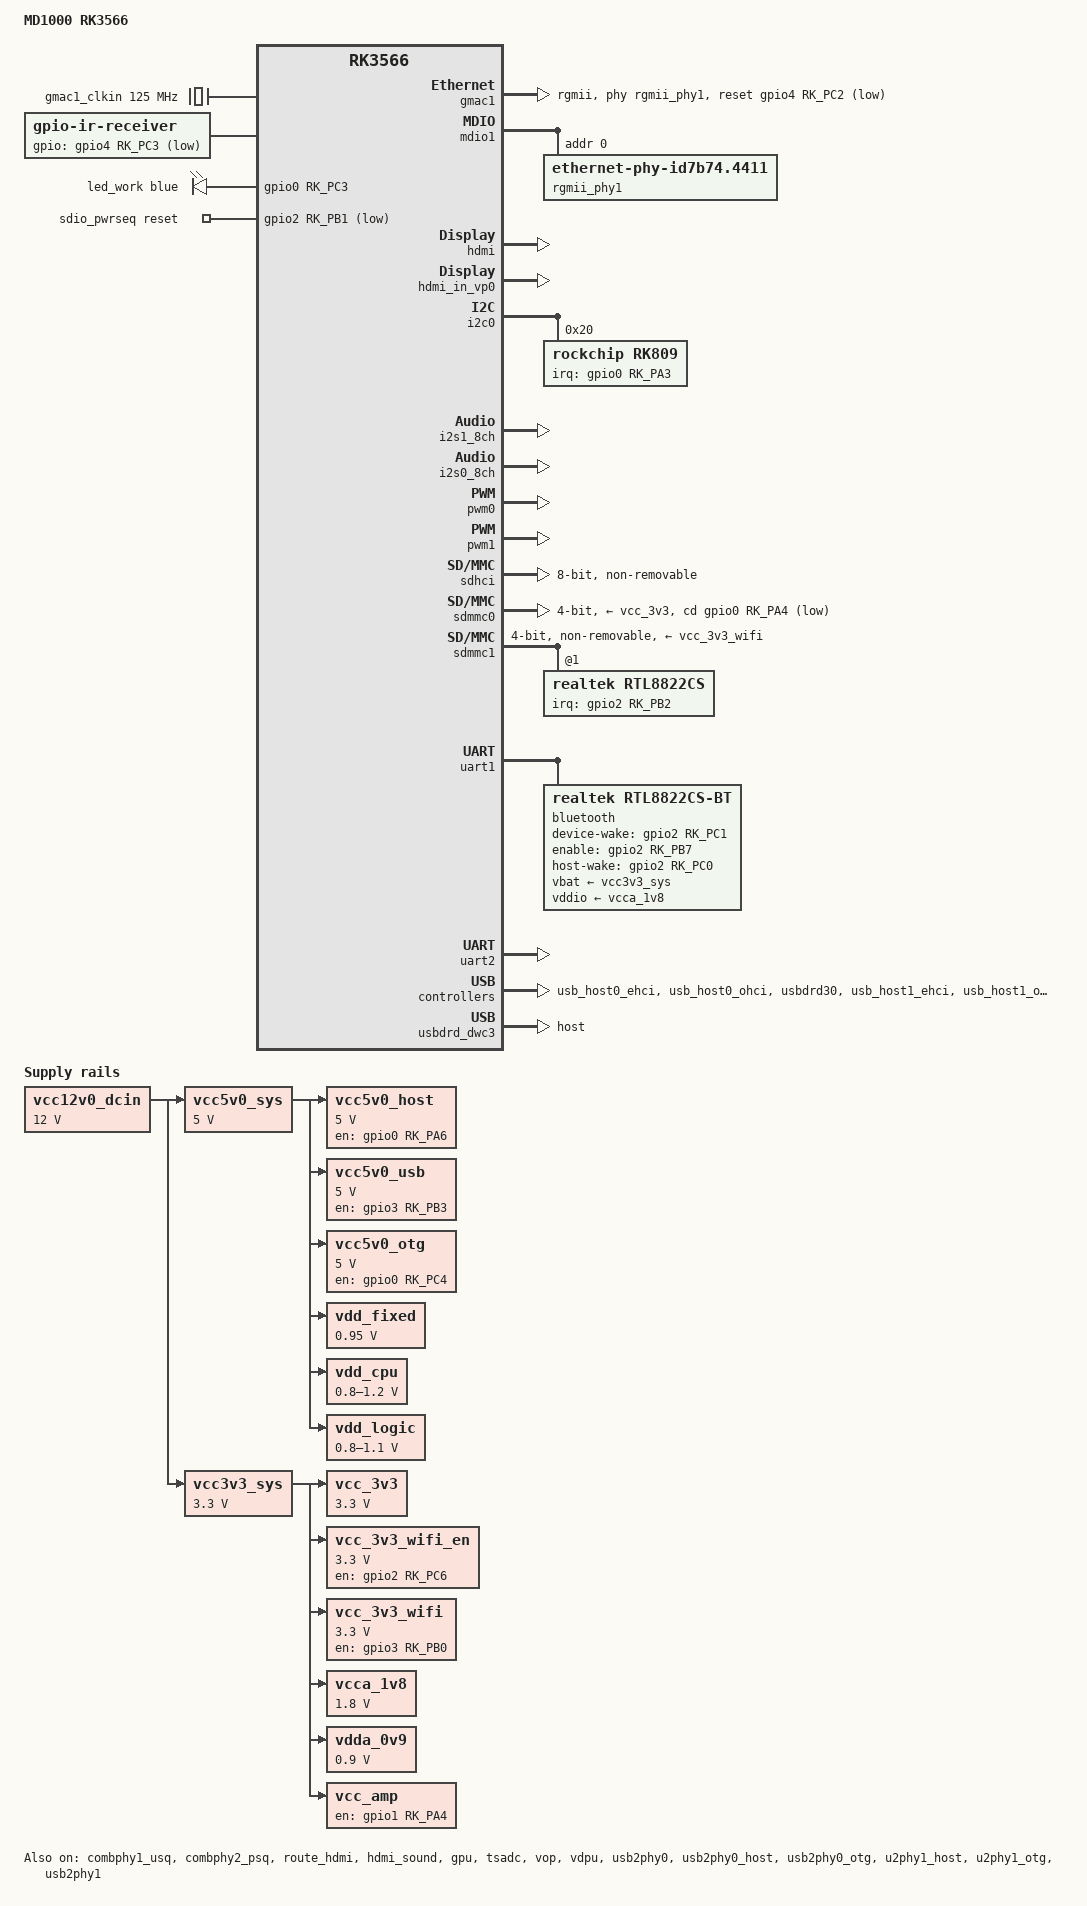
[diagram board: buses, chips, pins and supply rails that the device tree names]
// SPDX-License-Identifier: (GPL-2.0+ OR MIT)

/*
 * Author: Piotr Oniszczuk piotr.oniszczuk@gmail.com
 * Based on Quartz64 DT by: Peter Geis pgwipeout@gmail.com
 */

/dts-v1/;

#include <dt-bindings/gpio/gpio.h>
#include <dt-bindings/leds/common.h>
#include <dt-bindings/pinctrl/rockchip.h>
#include <dt-bindings/soc/rockchip,vop2.h>
#include "rk3566.dtsi"

/ {
	model = "MD1000 RK3566";
	/* rockchip 6.6 vendor BSP 方言版，源自 mainline rk3566-md1000.dts */
	compatible = "rockchip,rk3566-md1000", "rockchip,rk3566";

	aliases {
		ethernet0 = &gmac1;
		mmc0 = &sdhci;
		mmc1 = &sdmmc0;
		mmc2 = &sdmmc1;
	};

	chosen: chosen {
		stdout-path = "serial2:1500000n8";
	};

	gmac1_clkin: external-gmac1-clock {
		compatible = "fixed-clock";
		clock-frequency = <125000000>;
		clock-output-names = "gmac1_clkin";
		#clock-cells = <0>;
	};

/* HDMI 连接器：vendor 不用 hdmi-connector 图，见下方 route_hdmi */

	ir-receiver {
		compatible = "gpio-ir-receiver";
		gpios = <&gpio4 RK_PC3 GPIO_ACTIVE_LOW>;
		pinctrl-0 = <&ir_int>;
		linux,rc-map-name = "rc-beelink-gs1";
		status = "okay";
	};

	leds {
		compatible = "gpio-leds";

		led_work: led-0 {
			gpios = <&gpio0 RK_PC3 GPIO_ACTIVE_HIGH>;
			function = LED_FUNCTION_HEARTBEAT;
			color = <LED_COLOR_ID_BLUE>;
			linux,default-trigger = "heartbeat";
			pinctrl-names = "default";
			pinctrl-0 = <&led_work_en>;
		};
	};

sdio_pwrseq: sdio-pwrseq {
		status = "okay";
		compatible = "mmc-pwrseq-simple";
		clocks = <&pmucru CLK_RTC_32K>;
		clock-names = "ext_clock";
		pinctrl-names = "default";
		pinctrl-0 = <&wifi_enable_h>;
		post-power-on-delay-ms = <200>;
		reset-gpios = <&gpio2 RK_PB1 GPIO_ACTIVE_LOW>;
	};

	/*
	 * 模拟音频（3.5mm AV 口）—— ★2026-07-31:整组改回 mainline 配方(照 ROCKNIX)★
	 *
	 * ★决策依据:三方比对(见 memory: md1000_emuelec_av_audio)★
	 *   Armbian(mainline)  ✅ AV 有声
	 *   ROCKNIX(mainline)  ✅ AV 有声   ← 同一块板、同属 LibreELEC 家族、同样的建置系统
	 *   我们(vendor 配方)   ❌ 只有沙沙
	 * 两个【实机确认能出声】的系统用的是【完全同一套配方】:
	 *   simple-audio-card + mainline rk817_codec + DAI 挂 pmic 本体 + 保留 TRCM。
	 * ★而本档这份 dts 本来就是从 ROCKNIX 那份改过来的★(连注释都是同一段英文的中译),
	 * 是我们【单方面】分岔成 vendor 配方。现在整组改回去。
	 * 来源:work-rocknix/repo/projects/ROCKNIX/devices/RK3566/patches/linux/
	 *      0027-arm64-dts-rockchip-add-device-tree-for-md1000.patch
	 *
	 * ★下面这段「2026-07-30 定案:别再走回头路」已作废★(保留脉络):
	 *   当时试过 mainline codec 也是沙沙,于是回到 vendor 配方。但那次是
	 *   【只换 codec 驱动】的半套移植,声卡/DAI 位置/TRCM 状态都不确定,
	 *   ROCKNIX 证明的是【整套配方】可行 —— 单换一件不等于复制了那套配方。
	 *   旧结论原文:「Armbian 能出声是整套 6.18 mainline 的功劳,拆一半移植过来
	 *   就成了 vendor i2s + mainline codec 这种没人验证过的混搭」。
	 *   ★但 ROCKNIX 用的也不是 6.6 vendor i2s —— 所以「vendor i2s 天生不行」
	 *   这个推论【尚未被证明】,本轮正是要验它★。
	 */
	rk809_sound: rk809-sound {
		compatible = "simple-audio-card";
		simple-audio-card,format = "i2s";
		simple-audio-card,name = "Analog RK809";
		simple-audio-card,mclk-fs = <256>;

		simple-audio-card,widgets =
			"Headphone", "Headphones";
		simple-audio-card,routing =
			"Headphones", "HPOL",
			"Headphones", "HPOR";

		simple-audio-card,cpu {
			sound-dai = <&i2s1_8ch>;
		};

		simple-audio-card,codec {
			sound-dai = <&rk809>;
		};
	};

	/* MD1000 has no S/PDIF connector; kept for reference, disabled. */
/* MD1000 没有 S/PDIF 接口，vendor 的 &spdif_8ch 保持 disabled（见下方） */

/* 音频：SPDIF 一并留待音频阶段 */

	vcc12v0_dcin: regulator-vcc12v0-dcin {
		compatible = "regulator-fixed";
		regulator-name = "vcc12v0_dcin";
		regulator-always-on;
		regulator-boot-on;
		regulator-min-microvolt = <12000000>;
		regulator-max-microvolt = <12000000>;
	};

	vcc5v0_sys: regulator-vcc5v0-sys {
		compatible = "regulator-fixed";
		regulator-name = "vcc5v0_sys";
		regulator-always-on;
		regulator-boot-on;
		regulator-min-microvolt = <5000000>;
		regulator-max-microvolt = <5000000>;
		vin-supply = <&vcc12v0_dcin>;
	};

	vcc3v3_sys: regulator-vcc3v3-sys {
		compatible = "regulator-fixed";
		regulator-name = "vcc3v3_sys";
		regulator-always-on;
		regulator-boot-on;
		regulator-min-microvolt = <3300000>;
		regulator-max-microvolt = <3300000>;
		vin-supply = <&vcc12v0_dcin>;
	};

	vcc_3v3: regulator-vcc-3v3 {
		compatible = "regulator-fixed";
		regulator-name = "vcc_3v3";
		regulator-always-on;
		regulator-boot-on;
		regulator-min-microvolt = <3300000>;
		regulator-max-microvolt = <3300000>;
		vin-supply = <&vcc3v3_sys>;
	};

	vcc_3v3_wifi_en: regulator-vcc-3v3-wifi-en {
		compatible = "regulator-fixed";
		regulator-name = "vcc_3v3_wifi_en";
		regulator-always-on;
		regulator-boot-on;
		regulator-min-microvolt = <3300000>;
		regulator-max-microvolt = <3300000>;
		enable-active-high;
		gpio = <&gpio2 RK_PC6 GPIO_ACTIVE_HIGH>;
		pinctrl-names = "default";
		pinctrl-0 = <&wifi_en_h>;
		vin-supply = <&vcc3v3_sys>;
	};

	vcc_3v3_wifi: regulator-vcc-3v3-wifi {
		compatible = "regulator-fixed";
		regulator-name = "vcc_3v3_wifi";
		regulator-always-on;
		regulator-boot-on;
		regulator-min-microvolt = <3300000>;
		regulator-max-microvolt = <3300000>;
		enable-active-high;
		gpio = <&gpio3 RK_PB0 GPIO_ACTIVE_HIGH>;
		pinctrl-names = "default";
		pinctrl-0 = <&wifi_pwren_h>;
		vin-supply = <&vcc3v3_sys>;
	};

	vcc5v0_host: regulator-vcc5v0-host {
		compatible = "regulator-fixed";
		regulator-name = "vcc5v0_host";
		regulator-always-on;
		regulator-boot-on;
		regulator-min-microvolt = <5000000>;
		regulator-max-microvolt = <5000000>;
		enable-active-high;
		gpio = <&gpio0 RK_PA6 GPIO_ACTIVE_HIGH>;
		pinctrl-names = "default";
		pinctrl-0 = <&vcc5v0_host_en &hub_rst_3v3>;
		vin-supply = <&vcc5v0_sys>;
	};

	vcc5v0_usb: regulator-vcc5v0-usb {
		compatible = "regulator-fixed";
		regulator-name = "vcc5v0_usb";
		regulator-always-on;
		regulator-boot-on;
		regulator-min-microvolt = <5000000>;
		regulator-max-microvolt = <5000000>;
		enable-active-high;
		gpio = <&gpio3 RK_PB3 GPIO_ACTIVE_HIGH>;
		pinctrl-names = "default";
		pinctrl-0 = <&vcc5v0_usb_en>;
		vin-supply = <&vcc5v0_sys>;
	};

	vcc5v0_otg: regulator-vcc5v0-otg {
		compatible = "regulator-fixed";
		regulator-name = "vcc5v0_otg";
		regulator-always-on;
		regulator-boot-on;
		regulator-min-microvolt = <5000000>;
		regulator-max-microvolt = <5000000>;
		enable-active-high;
		gpio = <&gpio0 RK_PC4 GPIO_ACTIVE_HIGH>;
		pinctrl-names = "default";
		pinctrl-0 = <&vcc5v0_otg_en>;
		vin-supply = <&vcc5v0_sys>;
	};

	vcca_1v8: regulator-vcca-1v8 {
		compatible = "regulator-fixed";
		regulator-name = "vcca_1v8";
		regulator-always-on;
		regulator-boot-on;
		regulator-min-microvolt = <1800000>;
		regulator-max-microvolt = <1800000>;
		vin-supply = <&vcc3v3_sys>;
	};

	vdda_0v9: regulator-vdda-0v9 {
		compatible = "regulator-fixed";
		regulator-name = "vdda_0v9";
		regulator-always-on;
		regulator-boot-on;
		regulator-min-microvolt = <900000>;
		regulator-max-microvolt = <900000>;
		vin-supply = <&vcc3v3_sys>;
	};

	vdd_fixed: regulator-vdd-fixed {
		compatible = "regulator-fixed";
		regulator-name = "vdd_fixed";
		regulator-min-microvolt = <950000>;
		regulator-max-microvolt = <950000>;
		regulator-always-on;
		regulator-boot-on;
		vin-supply = <&vcc5v0_sys>;
	};

	vdd_cpu: regulator-vdd-cpu {
		compatible = "pwm-regulator";
		pwms = <&pwm0 0 5000 1>;
		regulator-name = "vdd_cpu";
		regulator-min-microvolt = <800000>;
		regulator-max-microvolt = <1200000>;
		regulator-always-on;
		regulator-boot-on;
		regulator-settling-time-up-us = <250>;
		pwm-supply = <&vcc5v0_sys>;
	};

	vdd_logic: regulator-vdd-logic {
		compatible = "pwm-regulator";
		pwms = <&pwm1 0 5000 1>;
		regulator-name = "vdd_logic";
		regulator-min-microvolt = <800000>;
		regulator-max-microvolt = <1100000>;
		regulator-always-on;
		regulator-boot-on;
		regulator-settling-time-up-us = <250>;
		pwm-supply = <&vcc5v0_sys>;
	};

	/*
	 * Enable line for the external audio amplifier feeding the AV jack.
	 * The vendor kernel drives this from the codec (spk-ctl-gpios), which
	 * mainline rk817_codec does not support, so hold it on via a regulator.
	 */
	vcc_amp: regulator-vcc-amp {
		compatible = "regulator-fixed";
		regulator-name = "vcc_amp";
		regulator-always-on;
		regulator-boot-on;
		enable-active-high;
		gpio = <&gpio1 RK_PA4 GPIO_ACTIVE_HIGH>;
		pinctrl-names = "default";
		pinctrl-0 = <&spk_ctl_h>;
		vin-supply = <&vcc3v3_sys>;
	};
};

&combphy1_usq {
	phy-supply = <&vcc5v0_host>;
	status = "okay";
};

&combphy2_psq {
	status = "okay";
};

&cpu0 {
	cpu-supply = <&vdd_cpu>;
};

&cpu1 {
	cpu-supply = <&vdd_cpu>;
};

&cpu2 {
	cpu-supply = <&vdd_cpu>;
};

&cpu3 {
	cpu-supply = <&vdd_cpu>;
};

&gmac1 {
	assigned-clocks = <&cru SCLK_GMAC1_RX_TX>, <&cru SCLK_GMAC1>;
	assigned-clock-parents = <&cru SCLK_GMAC1_RGMII_SPEED>, <&gmac1_clkin>;
	phy-mode = "rgmii";
	clock_in_out = "input";
	pinctrl-names = "default";
	pinctrl-0 = <&gmac1m1_miim
		    &gmac1m1_tx_bus2
		    &gmac1m1_rx_bus2
		    &gmac1m1_rgmii_clk
		    &gmac1m1_rgmii_bus
		    &gmac1m1_clkinout>;
	snps,reset-gpio = <&gpio4 RK_PC2 GPIO_ACTIVE_LOW>;
	snps,reset-active-low;
	/* Reset time is 20ms, 100ms for rtl8211f */
	snps,reset-delays-us = <0 20000 100000>;

	tx_delay = <0x4f>;
	rx_delay = <0x2d>;
	phy-handle = <&rgmii_phy1>;
	status = "okay";
};

&mdio1 {
	rgmii_phy1: ethernet-phy@0 {
		compatible = "ethernet-phy-id7b74.4411",
			     "ethernet-phy-ieee802.3-c22";
		reg = <0x0>;
	};
};

&hdmi {
	assigned-clocks = <&cru CLK_HDMI_CEC>;
	assigned-clock-rates = <32768>;
	avdd-0v9-supply = <&vdda_0v9>;
	avdd-1v8-supply = <&vcca_1v8>;

	/*
	 * ★修 HDMI 声音「沙沙 + 卡顿」的根因(2026-07-30 实测定案)★
	 *
	 * 症状:声音时好时坏,坏的时候听起来像沙沙声并且一顿一顿。
	 * 用 OBS 从 HDMI 撷取端录下来做波形分析,发现【根本不是噪音】——
	 * 音频被每 ~555ms 切断一次,86~95% 的时间是无声的,而有声的那 30~40ms
	 * 片段是干净乐音(相邻取样差/RMS = 0.21,白噪音会是 1.41)。
	 * 那个「沙沙」其实是反复切断/接回产生的爆音。
	 *
	 * 板子这一端全部清白:用 ALSA file 外挂旁录送往硬件的位元组,与影片原档
	 * 解码出来的音量包络逐格吻合;DMA 全程 48000/s 稳定消耗、XRUN = 0。
	 * 所以劣化发生在资料离开 ALSA/DMA 之后的 HDMI 传输层。
	 *
	 * 真因在 dw-hdmi.c 的 hdmi_set_clk_regenerator():
	 *     if (config3 & AHBAUDDMA || config3 & GPAUD || hdmi->cts_manual)
	 *             cts = ftdms * n / (128 * sample_rate);   // 手动算,确定值
	 *     else
	 *             cts = 0;                                 // 退回硬件自动量测
	 * 本板音频走 I2S,实测 CONFIG3_ID = 0x00(GPAUD/AHBAUDDMA 两个 bit 都是 0),
	 * 而 hdmi->cts_manual 来自 of_property_read_bool(np, "rockchip,cts-manual")
	 * ——dts 没写就是 false → cts = 0 → 交给硬件自动量测。
	 * 那个自动量测【不可靠】:实测量到 148500(正确) / 136898 / 5172 / 4930,
	 * 电视靠 Fs = TMDS × N / (128 × CTS) 还原音频时钟,CTS 错就还原失败。
	 *
	 * 实测对照(六个串流零反例):CTS=148500 → 声音完美(占空比 100%);
	 * CTS 为其它值 → 断续卡顿。与哪个程序、什么 ROM、负载轻重都无关,
	 * 纯粹是每次开启串流时硬件量测的运气。
	 *
	 * 加上这个属性后改走手动:1080p60 @48kHz 会算出
	 *     148500000 × 6144 / (128 × 48000) = 148500
	 * 正好就是「好」的那个值,而且换分辨率/取样率也会跟着重算。
	 *
	 * 上游依据:Rockchip 自己在 rk3528.dtsi 的 hdmi 节点就加了这个属性。
	 */
	rockchip,cts-manual;

	status = "okay";
};

/* vendor 显示链：VP0 -> HDMI（对照 rk3566-box.dtsi） */
&hdmi_in_vp0 {
	status = "okay";
};

&hdmi_in_vp1 {
	status = "disabled";
};

&route_hdmi {
	status = "okay";
	connect = <&vp0_out_hdmi>;
};

/* vendor 无 hdmi_in 端点容器，改用 &hdmi_in_vp0 */

/* vendor 无 hdmi_out 端点容器 */

&hdmi_sound {
	/* rk356x.dtsi 已定义好 i2s0 <-> hdmi，这里开启即可 */
	status = "okay";
};

&gpu {
	status = "okay";
};

&i2c0 {
	status = "okay";

	/*
	 * RK809 PMIC. Only the built-in audio codec is described here: the
	 * board's core rails are modelled by the fixed/PWM regulators above
	 * and left at their power-on defaults, so no "regulators" subnode is
	 * added on purpose - adding one would take over the live power tree.
	 */
	rk809: pmic@20 {
		compatible = "rockchip,rk809";
		reg = <0x20>;

		interrupt-parent = <&gpio0>;
		interrupts = <RK_PA3 IRQ_TYPE_LEVEL_LOW>;

		/*
		 * ★2026-07-31:改成 mainline binding(照 ROCKNIX)—— codec DAI 挂 PMIC【本体】★
		 * 不再有 codec 子节点:
		 *  - mainline 的 rk817_codec 是 devm_clk_get(pdev->dev.【parent】, "mclk"),
		 *    所以 clocks/clock-names 必须写在 PMIC 本体上(vendor 那份相反,取自己的节点)。
		 *  - MFD cell 的 .of_compatible 会在 post_unpack 被 sed 掉(见 package.mk),
		 *    照 mainline 的 rk8xx-core.c 写法 { .name = "rk817-codec", }。
		 *  - sound-dai = <&rk809> 解析得到的根据:codec 平台装置没有 of_node 时,
		 *    ASoC 会退回用 parent 的 of_node(soc-core.c 的 soc_component_to_node,
		 *    6.6 与 6.18 都有这段)。
		 *  - i2s1 的 mclk 引脚(i2s1m0_mclk)跟着挂本体,与 ROCKNIX 一致。
		 *  - hp-volume/spk-volume 是 vendor 驱动特有的,mainline 不认,已删除。
		 *
		 * ★唯一【刻意不照抄】ROCKNIX 的地方:MCLK 用 rates 不用 parents★
		 * ROCKNIX/Armbian 写 assigned-clock-parents = <&cru CLK_I2S1_8CH_TX>,
		 * 但那是 6.15+/6.18 的树;★6.6 这棵树里 i2s1_mclkout_tx 的候选 parent 名叫
		 * mclk_i2s1_8ch_tx,CLK_I2S1_8CH_TX 不在候选名单里 → clk 框架比对的是 clk_hw
		 * 指针不是名称,对不上就【静默不动作、不报错】,mux 停在 xin_osc0_half=12.000MHz★。
		 * 这个坑已实机确认过两次,照抄必然复发。改用【指定频率】让框架自己选 parent,
		 * 不依赖任何一棵树的 parent 命名(12288000 = 256 x 48000,实测生效)。
		 */
		clocks = <&cru I2S1_MCLKOUT_TX>;
		clock-names = "mclk";
		assigned-clocks = <&cru I2S1_MCLKOUT_TX>;
		assigned-clock-rates = <12288000>;

		#clock-cells = <1>;
		#sound-dai-cells = <0>;

		pinctrl-names = "default";
		pinctrl-0 = <&pmic_int>, <&i2s1m0_mclk>;

		/*
		 * 照 ROCKNIX 放在本体。注意 mainline 的 rk817_codec 其实是去
		 * 【codec 子节点】读这个属性(of_get_child_by_name(parent,"codec")),
		 * 没有子节点时 node=NULL → 读不到 → mic_in_differential=false。
		 * 也就是说这行在 mainline binding 下【实际不生效】,ROCKNIX 也是如此。
		 * 只影响录音路径,与 AV 播放无关,保留是为了与参考实作逐字一致。
		 */
		rockchip,mic-in-differential;

		wakeup-source;
	};
};

&i2s1_8ch {
	/*
	 * TRCM（clk-trcm）TX/RX 共用一条时钟线，所以只接 TX 引脚。
	 * 覆盖 SoC 默认引脚组（它还会占用 GPIO1_A4 上的 sclkrx），与厂商 Android DT 对齐，
	 * 把 GPIO1_A4 让给外置功放使能（vcc_amp）。MCLK 在 rk809_codec 里声明。
	 */
	pinctrl-names = "default";
	pinctrl-0 = <&i2s1m0_sclktx &i2s1m0_lrcktx
		     &i2s1m0_sdi0 &i2s1m0_sdo0>;

	/*
	 * ★★2026-07-31:TRCM 改回【保留】—— 下面那段关掉它的实验结论已作废★★
	 * 作废理由(两条独立):
	 * ① ★三方比对:两个【实机确认 AV 能出声】的系统都保留 TRCM★
	 *    Armbian(6.18 mainline) 与 ROCKNIX(6.15.6 mainline,同一块板、同属 LibreELEC 家族、
	 *    连 i2s 引脚覆写让出 GPIO1_A4 的写法都跟我们一样)—— 两边的 &i2s1_8ch 都带
	 *    rockchip,trcm-sync-tx-only。★本档这份 dts 本来就是从 ROCKNIX 那份改过来的★
	 *    (注释都是同一段英文的中译),关掉 TRCM 是我们【单方面的分岔】。
	 * ② 当初关掉它的唯一收获「左右声道从分不清变成可区分」★2026-07-31 实机完全重现不了★
	 *    (播左声道 10s / 右声道 10s,使用者回报无法区分),那次多半是单次不可信的观察
	 *    (见 [[feedback_state_expected_sound]])。
	 * 而关掉它反而【制造了】一个真缺陷:mclk_rx 停在 1.188GHz 空转(见下方 assigned-clocks 那段)。
	 * 关掉 TRCM 唯一站得住的客观效果是 DMACR 010f0110 -> 000f0110(与 Armbian 一致),
	 * 但那是 vendor 与 mainline 对 TRCM 的实作差异,不是「关掉才对」的证据。
	 *
	 * ------------------------ 以下为已作废的旧实验说明(保留脉络) ------------------------
	 * ★实验(2026-07-30):关掉 TRCM,让 i2s 走一般模式★
	 * 背景:AV 只有沙沙声,而【所有】能量测的东西都已确认与 Armbian(同一块板、
	 * 实机有声)完全一致 —— DMA 连续无 XRUN、I2S 寄存器(TXCR/CKR/CLKDIV)逐字节相同、
	 * codec slave+16bit、APLL 相同、MCLK 12.288MHz、pinmux 正确、PMIC/codec
	 * 全区段(0x00~0x4f)真值比对无播放相关差异。codec 驱动 mainline/vendor 两版也都试过。
	 * 逻辑上只剩「寄存器快照看不到的东西」=【驱动的执行期行为与时序】。
	 *
	 * 而唯一从没换过的软件就是 i2s 驱动(6.6 vendor vs Armbian 的 6.18 mainline)。
	 * 具体着力点:开机 dmesg 明确印
	 *     rockchip-i2s-tdm fe410000.i2s: Register PCM for TRCM mode
	 * TRCM(TX/RX 共用时钟)是 vendor 驱动特有的一套机制,带自己的 DMA guard 与
	 * trcm_pause/trcm_resume(见 rockchip_i2s_tdm.c 的 params_trcm),mainline 的实作
	 * 完全不同。这正是「最终寄存器值相同、过程却不同」会发生的地方。
	 *
	 * ★注意:光删自己这一行没用★ —— rk356x.dtsi 第 2656 行本来就有这个属性,
	 * 会被继承进来,所以必须用 /delete-property/ 才真的拿掉(实验的前提)。
	 * 引脚仍然只接 TX(不接 sclkrx),把 GPIO1_A4 留给外置功放使能 vcc_amp。
	 */
	/* 照 ROCKNIX / Armbian:明确保留 TRCM(rk356x.dtsi 本来就有,这里显式写出来更清楚) */
	rockchip,trcm-sync-tx-only;

	/*
	 * ★这里【曾经】加过 assigned-clocks = <&cru CLK_I2S1_8CH_RX> / rates = 12288000,
	 *   现已移除(TRCM 恢复后它是冗余的),但成因值得留档 —— 它是【关掉 TRCM 的副作用】★
	 *
	 * 当时症状:播放(纯 TX)时 clk_summary 实测
	 *     mclk_i2s1_8ch_rx   enable=1   rate=1188000000     ← 1.188 GHz 在音频区块空转
	 * 成因(vendor 与 mainline 的 rockchip_i2s_tdm.c 这段【逐字相同】):
	 *     rockchip_i2s_tdm_set_sysclk():
	 *         if (clk_trcm) { mclk_tx_freq = freq; mclk_rx_freq = freq; }
	 *         else if (PLAYBACK) mclk_tx_freq = freq;   // 只设 tx
	 * 关掉 TRCM → clk_trcm=0 → 只有 mclk_tx 走到 clk_set_rate(),mclk_rx 从来没人指定速率,
	 * 停在来源 gpll 的 1188MHz;但 i2s_tdm_prepare_enable_mclk() 是 tx/rx【无条件一起】
	 * clk_prepare_enable() 的,所以它照样被打开。
	 * ★现在 TRCM 已恢复(走 if 分支),驱动自己会把 rx 设成与 tx 相同的频率,不必再补★
	 * (实测:TRCM 恢复后 mclk_i2s1_8ch_rx 跟着 tx 走 = 11289600 @44.1kHz,正确)。
	 *
	 * ★若将来又要手动指定 RX:必须挂 CLK_I2S1_8CH_RX,不能挂 MCLK_I2S1_8CH_RX★
	 *     MUX (CLK_I2S1_8CH_RX,  "clk_i2s1_8ch_rx",  ..., CLK_SET_RATE_PARENT)  <- 有
	 *     GATE(MCLK_I2S1_8CH_RX, "mclk_i2s1_8ch_rx", "clk_i2s1_8ch_rx", 0)      <- flags=0
	 * gate 没有 CLK_SET_RATE_PARENT,挂在 gate 上设速率不会向上传播 = 白设。
	 */

	status = "okay";
};

&i2s0_8ch {
	/* HDMI 音频的 CPU 侧；&hdmi_sound 已在 rk356x.dtsi 里接好 i2s0 <-> hdmi */
	status = "okay";
};

&pinctrl {
	bt {
		bt_enable_h: bt-enable-h {
			rockchip,pins = <2 RK_PB7 RK_FUNC_GPIO &pcfg_pull_none>;
		};

		bt_host_wake_l: bt-host-wake-l {
			rockchip,pins = <2 RK_PC0 RK_FUNC_GPIO &pcfg_pull_down>;
		};

		bt_wake_l: bt-wake-l {
			rockchip,pins = <2 RK_PC1 RK_FUNC_GPIO &pcfg_pull_none>;
		};
	};

	sdio-pwrseq {
		wifi_enable_h: wifi-enable-h {
			rockchip,pins = <2 RK_PB1 RK_FUNC_GPIO &pcfg_pull_none>;
		};

		wifi_host_wake_h: wifi-host-wake-h {
			rockchip,pins = <2 RK_PB2 RK_FUNC_GPIO &pcfg_pull_up>;
		};

		wifi_en_h: wifi-en-h {
			rockchip,pins = <2 RK_PC6 RK_FUNC_GPIO &pcfg_pull_none>;
		};

		wifi_pwren_h: wifi-pwren-h {
			rockchip,pins = <3 RK_PB0 RK_FUNC_GPIO &pcfg_pull_none>;
		};
	};

	usb {
		vcc5v0_usb_en: vcc5v0-usb-en {
			rockchip,pins = <3 RK_PB3 RK_FUNC_GPIO &pcfg_pull_none>;
		};

		vcc5v0_host_en: vcc5v0-host-en {
			rockchip,pins = <0 RK_PA6 RK_FUNC_GPIO &pcfg_pull_none>;
		};

		vcc5v0_otg_en: vcc5v0-otg-en {
			rockchip,pins = <0 RK_PC4 RK_FUNC_GPIO &pcfg_pull_none>;
		};

		hub_rst_3v3: hub-rst-3v3 {
			rockchip,pins = <3 RK_PA6 RK_FUNC_GPIO &pcfg_pull_none>;
		};
	};

	ir {
		ir_int: ir-int {
			rockchip,pins = <4 RK_PC3 RK_FUNC_GPIO &pcfg_pull_none>;
		};
	};

	pmic {
		pmic_int: pmic-int {
			rockchip,pins = <0 RK_PA3 RK_FUNC_GPIO &pcfg_pull_up>;
		};
	};

	sound {
		hp_det: hp-det {
			rockchip,pins = <0 RK_PB7 RK_FUNC_GPIO &pcfg_pull_none>;
		};

		spk_ctl_h: spk-ctl-h {
			rockchip,pins = <1 RK_PA4 RK_FUNC_GPIO &pcfg_pull_none>;
		};
	};

	led {
		led_work_en: led_work_en {
			rockchip,pins = <0 RK_PC3 RK_FUNC_GPIO &pcfg_pull_none>;
		};
	};
};

&pmu_io_domains {
	pmuio2-supply = <&vcc_3v3>;
	vccio1-supply = <&vcc_3v3>;
	vccio3-supply = <&vcc_3v3>;
	vccio4-supply = <&vcca_1v8>;
	vccio5-supply = <&vcc_3v3>;
	vccio6-supply = <&vcca_1v8>;
	vccio7-supply = <&vcc_3v3>;
	status = "okay";
};

&pwm0 {
	status = "okay";
};

&pwm1 {
	status = "okay";
};

&sdhci {
	bus-width = <8>;
	mmc-hs200-1_8v;
	non-removable;
	status = "okay";
};

&sdmmc0 {
	bus-width = <4>;
	cap-sd-highspeed;
	cd-gpios = <&gpio0 RK_PA4 GPIO_ACTIVE_LOW>;
	disable-wp;
	pinctrl-names = "default";
	pinctrl-0 = <&sdmmc0_bus4 &sdmmc0_clk &sdmmc0_cmd &sdmmc0_det>;
	vmmc-supply = <&vcc_3v3>;
	status = "okay";
};

&sdmmc1 {
	/*
	 * Realtek RTL8822CS，走上游 rtw88 的 SDIO 驱动
	 * （drivers/net/wireless/realtek/rtw88/rtw8822cs.c）。
	 * vendor 的 rockchip_wlan 只带 rkwifi(Broadcom)，没有这颗，所以不用 wlan-platdata。
	 */
	#address-cells = <1>;
	#size-cells = <0>;
	bus-width = <4>;
	clock-frequency = <150000000>;
	cap-sdio-irq;
	cap-sd-highspeed;
	sd-uhs-sdr104;
	keep-power-in-suspend;
	mmc-pwrseq = <&sdio_pwrseq>;
	non-removable;
	pinctrl-names = "default";
	pinctrl-0 = <&sdmmc1_bus4 &sdmmc1_cmd &sdmmc1_clk>;
	vmmc-supply = <&vcc_3v3_wifi>;
	vqmmc-supply = <&vcca_1v8>;
	status = "okay";

	rtl8822cs: wifi@1 {
		compatible = "realtek,rtl8822cs";
		reg = <1>;
		interrupt-parent = <&gpio2>;
		interrupts = <RK_PB2 IRQ_TYPE_LEVEL_HIGH>;
		interrupt-names = "host-wake";
		pinctrl-names = "default";
		pinctrl-0 = <&wifi_host_wake_h>;
	};
};

&spdif_8ch {
	/* MD1000 没有 S/PDIF 接口；关掉它也是 AV 模拟音频能正常出声的前提之一 */
	status = "disabled";
};

&spi1 {
	pinctrl-names = "default";
	pinctrl-0 = <&spi1m1_cs0 &spi1m1_pins>;
};

&tsadc {
	/* tshut mode 0:CRU 1:GPIO */
	rockchip,hw-tshut-mode = <1>;
	/* tshut polarity 0:LOW 1:HIGH */
	rockchip,hw-tshut-polarity = <0>;
	status = "okay";
};

&uart1 {
	/* 蓝牙走上游 serdev 绑定，drivers/bluetooth/hci_h5.c 认 realtek,rtl8822cs-bt */
	pinctrl-names = "default";
	pinctrl-0 = <&uart1m0_xfer &uart1m0_ctsn &uart1m0_rtsn>;
	status = "okay";
	uart-has-rtscts;

	bluetooth {
		compatible = "realtek,rtl8822cs-bt";
		clocks = <&pmucru CLK_RTC_32K>;
		clock-names = "lpo";
		device-wake-gpios = <&gpio2 RK_PC1 GPIO_ACTIVE_HIGH>;
		enable-gpios = <&gpio2 RK_PB7 GPIO_ACTIVE_HIGH>;
		host-wake-gpios = <&gpio2 RK_PC0 GPIO_ACTIVE_HIGH>;
		max-speed = <1500000>;
		pinctrl-names = "default";
		pinctrl-0 = <&bt_host_wake_l &bt_wake_l &bt_enable_h>;
		vbat-supply = <&vcc3v3_sys>;
		vddio-supply = <&vcca_1v8>;
	};
};

&uart2 {
	status = "okay";
};

&vop {
	/*
	 * 对齐 vendor 写法(参照树内 rk3566-box.dtsi),不要沿用 mainline 那套:
	 *   mainline: assigned-clocks = <&cru DCLK_VOP0>, <&cru DCLK_VOP1>
	 *             assigned-clock-parents = <&pmucru PLL_HPLL>, <&cru PLL_VPLL>
	 *             (没有 vop-supply)
	 *   vendor  : 只指定 DCLK_VOP1 -> PLL_VPLL,并且必须给 vop-supply
	 * vendor 的 VOP2 驱动会去取 vop-supply,缺了它显示起不来。
	 */
	status = "okay";
	assigned-clocks = <&cru DCLK_VOP1>;
	assigned-clock-parents = <&cru PLL_VPLL>;
	vop-supply = <&vdd_logic>;
};

&vop_mmu {
	status = "okay";
};

/* vendor 已在 rk356x.dtsi 内接好 vp0_out_hdmi */

&vdpu {
	status = "okay";
};

&vdpu_mmu {
	status = "okay";
};

&usb2phy0 {
	status = "okay";
};

&usb2phy0_host {
	phy-supply = <&vcc5v0_host>;
	status = "okay";
};

&usb2phy0_otg {
	vbus-supply = <&vcc5v0_otg>;
	status = "okay";
};

&u2phy1_host {
	phy-supply = <&vcc5v0_host>;
	status = "okay";
};

&u2phy1_otg {
	phy-supply = <&vcc5v0_host>;
	status = "okay";
};

&usb2phy1 {
	status = "okay";
};

&usb_host0_ehci {
	status = "okay";
};

&usb_host0_ohci {
	status = "okay";
};

&usbdrd30 {
	status = "okay";
};

&usbdrd_dwc3 {
	/delete-property/ extcon;
	dr_mode = "host";
	status = "okay";
};

&usb_host1_ehci {
	status = "okay";
};

&usb_host1_ohci {
	status = "okay";
};

&usbhost30 {
	status = "okay";
};

&usbhost_dwc3 {
	status = "okay";
};
